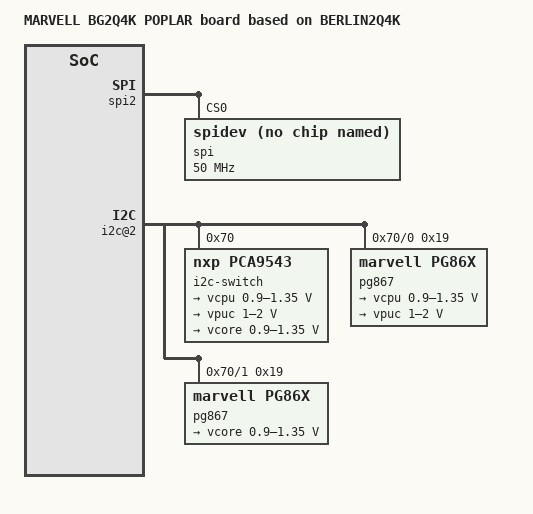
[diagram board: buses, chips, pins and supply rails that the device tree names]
/*
 * MARVELL BERLIN2Q4K POPLAR board device tree source
 *
 * Author:	Jisheng Zhang <jszhang@marvell.com>
 * Copyright (c) 2014 Marvell International Ltd.
 *		http://www.marvell.com
 *
 * This program is free software; you can redistribute it and/or modify
 * it under the terms of the GNU General Public License version 2 as
 * published by the Free Software Foundation.
*/

/dts-v1/;
/include/ "berlin2q4k.dtsi"

/ {
	model = "MARVELL BG2Q4K POPLAR board based on BERLIN2Q4K";
	compatible = "marvell,berlin2q4k-poplar", "marvell,berlin2q4k", "marvell,berlin";

	cpus {
		cpu@0 {
			cpu0-supply = <&vcpu>;
		};
	};

	soc {
		sdhci1:sdhci@F7AB0000 {
			status = "disabled";
		};

		sdhci2:sdhci@F7AB0800 {
			status = "disabled";
		};

		rfkill {
			pdn-gpio = <&banke 7 0>;
		};

		spi2: spi@F7FC6000 {
			status = "okay";
			spi@0 {
				compatible = "spidev";
				reg = <0>;
				spi-max-frequency = <50000000>;
			};
		};

		i2c@2 {
			i2c-switch@70 {
				compatible = "nxp,pca9543";
				#address-cells = <1>;
				#size-cells = <0>;
				reg = <0x70>;

				i2c@0 {
					#address-cells = <1>;
					#size-cells = <0>;
					reg = <0>;
					pg867 {
						#address-cells = <1>;
						#size-cells = <0>;
						compatible = "marvell,pg86x";
						reg = <0x19>;
						vcpu:BK1_TV@0 {
							regulator-name = "vcpu";
							regulator-min-microvolt = <900000>;
							regulator-max-microvolt = <1350000>;
							regulator-always-on;
							regulator-boot-on;
						};

						vpuc:BK2_TV@0 {
							regulator-name = "vpuc";
							regulator-min-microvolt = <1000000>;
							regulator-max-microvolt = <2000000>;
							regulator-always-on;
							regulator-boot-on;
						};
					};
				};

				i2c@1 {
					#address-cells = <1>;
					#size-cells = <0>;
					reg = <1>;
					pg867 {
						#address-cells = <1>;
						#size-cells = <0>;
						compatible = "marvell,pg86x";
						reg = <0x19>;
						vcore:BK1_TV@1 {
							regulator-name = "vcore";
							regulator-min-microvolt = <900000>;
							regulator-max-microvolt = <1350000>;
							regulator-always-on;
							regulator-boot-on;
						};
					};
				};
			};
		};
	};
};
